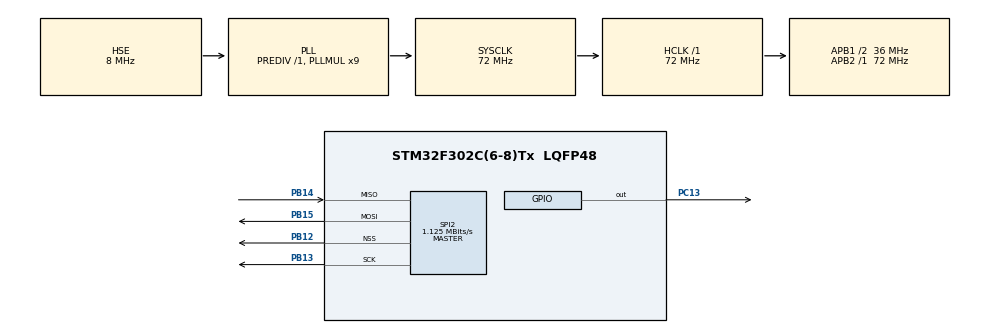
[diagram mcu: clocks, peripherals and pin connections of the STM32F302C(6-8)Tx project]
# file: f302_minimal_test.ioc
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Mcu.Family=STM32F3
Mcu.Name=STM32F302C(6-8)Tx
Mcu.Package=LQFP48
NVIC.PriorityGroup=NVIC_PRIORITYGROUP_4
PA13.Mode=Serial_Wire
PA13.Signal=SYS_JTMS-SWDIO
PA14.Mode=Serial_Wire
PA14.Signal=SYS_JTCK-SWCLK
PB12.Mode=NSS_Signal_Hard_Output
PB12.Signal=SPI2_NSS
PB13.Mode=Full_Duplex_Master
PB13.Signal=SPI2_SCK
PB14.Mode=Full_Duplex_Master
PB14.Signal=SPI2_MISO
PB15.Mode=Full_Duplex_Master
PB15.Signal=SPI2_MOSI
PC13.PinState=GPIO_PIN_SET
PC13.Signal=GPIO_Output
PF0-OSC_IN.Mode=HSE-External-Oscillator
PF0-OSC_IN.Signal=RCC_OSC_IN
PF1-OSC_OUT.Mode=HSE-External-Oscillator
PF1-OSC_OUT.Signal=RCC_OSC_OUT
ProjectManager.HeapSize=0x200
ProjectManager.StackSize=0x400
ProjectManager.TargetToolchain=MDK-ARM V5.27
RCC.AHBFreq_Value=72000000
RCC.APB1CLKDivider=RCC_HCLK_DIV2
RCC.APB1Freq_Value=36000000
RCC.APB1TimFreq_Value=72000000
RCC.APB2Freq_Value=72000000
RCC.APB2TimFreq_Value=72000000
RCC.CortexFreq_Value=72000000
RCC.EnbaleCSS=true
RCC.HCLKFreq_Value=72000000
RCC.HSE_VALUE=8000000
RCC.HSI_VALUE=8000000
RCC.LSE_VALUE=32768
RCC.PLLMUL=RCC_PLL_MUL9
RCC.PLLSourceVirtual=RCC_PLLSOURCE_HSE
RCC.SYSCLKFreq_VALUE=72000000
RCC.SYSCLKSourceVirtual=RCC_SYSCLKSOURCE_PLLCLK
RCC.USBFreq_Value=72000000
SPI2.BaudRatePrescaler=SPI_BAUDRATEPRESCALER_32
SPI2.CalculateBaudRate=1.125 MBits/s
SPI2.DataSize=SPI_DATASIZE_8BIT
SPI2.Direction=SPI_DIRECTION_2LINES
SPI2.Mode=SPI_MODE_MASTER
SPI2.VirtualNSS=VM_NSSHARD
SPI2.VirtualType=VM_MASTER
board=custom

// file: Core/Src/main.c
/* USER CODE BEGIN Header */
/**
  ******************************************************************************
  * @file           : main.c
  * @brief          : Main program body
  ******************************************************************************
  * @attention
  *
  * Copyright (c) 2022 STMicroelectronics.
  * All rights reserved.
  *
  * This software is licensed under terms that can be found in the LICENSE file
  * in the root directory of this software component.
  * If no LICENSE file comes with this software, it is provided AS-IS.
  *
  ******************************************************************************
  */
/* USER CODE END Header */
#include "main.h"

 SPI_HandleTypeDef hspi2;

/* USER CODE BEGIN PV */
static uint8_t rx, tx, addr = 0x01;

uint16_t tx_16,rx_16;

typedef struct {
	int16_t acc[3];
	int16_t gyro[3];
}gyro_acc_data_t;

gyro_acc_data_t imu_data;

/* USER CODE END PV */

void SystemClock_Config(void);
static void MX_GPIO_Init(void);
static void MX_SPI2_Init(void);

/* USER CODE BEGIN 0 */
//void spi_read_bytes(uint8_t addr, uint8_t* rx_data,uint16_t size){
//		while((SPI2->SR & SPI_SR_BSY)==SPI_SR_BSY);
//		HAL_GPIO_WritePin(GPIOB,GPIO_PIN_12,GPIO_PIN_RESET);//CS low
//
//		SPI2->DR = addr | 0x80;
//		for(int i=0;i < size; i++){
//			while((SPI2->SR & SPI_SR_BSY)==SPI_SR_BSY);
//			rx_data[i] =  SPI2->DR;
//		}
//
//		while(HAL_GPIO_ReadPin(GPIOB,GPIO_PIN_13) == GPIO_PIN_SET);
//		//HAL_SPI_TransmitReceive(&hspi2,&tx,&rx,1,100);

//		HAL_GPIO_WritePin(GPIOB,GPIO_PIN_12,GPIO_PIN_SET);//CS high
//}

//void spi_write_bytes(uint8_t addr, uint8_t* tx_data,uint16_t size){
//	while((SPI2->SR & SPI_SR_BSY)==SPI_SR_BSY);
//
//	HAL_GPIO_WritePin(GPIOB,GPIO_PIN_12,GPIO_PIN_RESET);//CS low
//		SPI2->DR = addr & 0x7F;
//		for(int i=0;i < size; i++){
//			while((SPI2->SR & SPI_SR_BSY)==SPI_SR_BSY);
//			SPI2->DR = tx_data[i];
//		}
//		while((SPI2->SR & SPI_SR_BSY)==SPI_SR_BSY);
//		while(HAL_GPIO_ReadPin(GPIOB,GPIO_PIN_13) == GPIO_PIN_SET);
//		//HAL_SPI_TransmitReceive(&hspi2,&tx,&rx,1,100);

//		HAL_GPIO_WritePin(GPIOB,GPIO_PIN_12,GPIO_PIN_SET);//CS high
//}

void spi_write_reg(uint8_t addr, uint8_t tx_byte){
	uint16_t rx_data, tx_data;
	tx_data  = ((uint16_t)(addr & 0x7F) << 8) | (uint16_t)tx_byte;
	HAL_SPI_TransmitReceive(&hspi2,(uint8_t*)&tx_data,(uint8_t*)&rx_data,2,100);
}

uint8_t spi_read_reg(uint8_t addr){
	uint16_t rx_data, tx_data = 0;
	tx_data  = (uint16_t)(addr | 0x80) << 8;
	HAL_SPI_TransmitReceive(&hspi2,(uint8_t*)&tx_data,(uint8_t*)&rx_data,2,100);
	return (uint8_t)(rx_data & 0xFF);
}

/* USER CODE END 0 */

int main(void)
{

  /* MCU Configuration--------------------------------------------------------*/

  /* Reset of all peripherals, Initializes the Flash interface and the Systick. */
  HAL_Init();

  /* Configure the system clock */
  SystemClock_Config();

  /* Initialize all configured peripherals */
  MX_GPIO_Init();
  MX_SPI2_Init();

  /* Infinite loop */
  /* USER CODE BEGIN WHILE */
	//__HAL_SPI_ENABLE(&hspi2);

	HAL_Delay(2000);

	spi_write_reg(0x60, 0x01);
	HAL_Delay(30);
	spi_write_reg(0x02,0x60);
	spi_write_reg(0x08,0x03);
	spi_write_reg(0x3,0x1c);
	spi_write_reg(0x04, 0x40);
	spi_write_reg(0x06, 0x55);

  while (1)
  {
    /* USER CODE END WHILE */

    /* USER CODE BEGIN 3 */
		//spi_read_bytes(addr,&rx,1);
		for(int i=0;i<12;i++){
				((uint8_t*)&imu_data)[i] = spi_read_reg(0x35+i);
		}

		//spi_read_bytes(0x3B,(uint8_t*)gyro_data,6);

		HAL_GPIO_TogglePin(GPIOC,GPIO_PIN_13);
		HAL_Delay(200);

  }
  /* USER CODE END 3 */
}

void SystemClock_Config(void)
{
  RCC_OscInitTypeDef RCC_OscInitStruct = {0};
  RCC_ClkInitTypeDef RCC_ClkInitStruct = {0};

  /** Initializes the RCC Oscillators according to the specified parameters
  * in the RCC_OscInitTypeDef structure.
  */
  RCC_OscInitStruct.OscillatorType = RCC_OSCILLATORTYPE_HSE;
  RCC_OscInitStruct.HSEState = RCC_HSE_ON;
  RCC_OscInitStruct.HSEPredivValue = RCC_HSE_PREDIV_DIV1;
  RCC_OscInitStruct.HSIState = RCC_HSI_ON;
  RCC_OscInitStruct.PLL.PLLState = RCC_PLL_ON;
  RCC_OscInitStruct.PLL.PLLSource = RCC_PLLSOURCE_HSE;
  RCC_OscInitStruct.PLL.PLLMUL = RCC_PLL_MUL9;
  if (HAL_RCC_OscConfig(&RCC_OscInitStruct) != HAL_OK)
  {
    Error_Handler();
  }

  /** Initializes the CPU, AHB and APB buses clocks
  */
  RCC_ClkInitStruct.ClockType = RCC_CLOCKTYPE_HCLK|RCC_CLOCKTYPE_SYSCLK
                              |RCC_CLOCKTYPE_PCLK1|RCC_CLOCKTYPE_PCLK2;
  RCC_ClkInitStruct.SYSCLKSource = RCC_SYSCLKSOURCE_PLLCLK;
  RCC_ClkInitStruct.AHBCLKDivider = RCC_SYSCLK_DIV1;
  RCC_ClkInitStruct.APB1CLKDivider = RCC_HCLK_DIV2;
  RCC_ClkInitStruct.APB2CLKDivider = RCC_HCLK_DIV1;

  if (HAL_RCC_ClockConfig(&RCC_ClkInitStruct, FLASH_LATENCY_2) != HAL_OK)
  {
    Error_Handler();
  }

  /** Enables the Clock Security System
  */
  HAL_RCC_EnableCSS();
}

static void MX_SPI2_Init(void)
{

  /* SPI2 parameter configuration*/
  hspi2.Instance = SPI2;
  hspi2.Init.Mode = SPI_MODE_MASTER;
  hspi2.Init.Direction = SPI_DIRECTION_2LINES;
  hspi2.Init.DataSize = SPI_DATASIZE_8BIT;
  hspi2.Init.CLKPolarity = SPI_POLARITY_LOW;
  hspi2.Init.CLKPhase = SPI_PHASE_1EDGE;
  hspi2.Init.NSS = SPI_NSS_HARD_OUTPUT;
  hspi2.Init.BaudRatePrescaler = SPI_BAUDRATEPRESCALER_32;
  hspi2.Init.FirstBit = SPI_FIRSTBIT_MSB;
  hspi2.Init.TIMode = SPI_TIMODE_DISABLE;
  hspi2.Init.CRCCalculation = SPI_CRCCALCULATION_DISABLE;
  hspi2.Init.CRCPolynomial = 7;
  hspi2.Init.CRCLength = SPI_CRC_LENGTH_DATASIZE;
  hspi2.Init.NSSPMode = SPI_NSS_PULSE_ENABLE;
  if (HAL_SPI_Init(&hspi2) != HAL_OK)
  {
    Error_Handler();
  }

}

static void MX_GPIO_Init(void)
{
  GPIO_InitTypeDef GPIO_InitStruct = {0};

  /* GPIO Ports Clock Enable */
  __HAL_RCC_GPIOC_CLK_ENABLE();
  __HAL_RCC_GPIOF_CLK_ENABLE();
  __HAL_RCC_GPIOB_CLK_ENABLE();
  __HAL_RCC_GPIOA_CLK_ENABLE();

  /*Configure GPIO pin Output Level */
  HAL_GPIO_WritePin(GPIOC, GPIO_PIN_13, GPIO_PIN_SET);

  /*Configure GPIO pin : PC13 */
  GPIO_InitStruct.Pin = GPIO_PIN_13;
  GPIO_InitStruct.Mode = GPIO_MODE_OUTPUT_PP;
  GPIO_InitStruct.Pull = GPIO_NOPULL;
  GPIO_InitStruct.Speed = GPIO_SPEED_FREQ_LOW;
  HAL_GPIO_Init(GPIOC, &GPIO_InitStruct);

}

void Error_Handler(void)
{
  __disable_irq();
  while (1)
  {
  }
}
